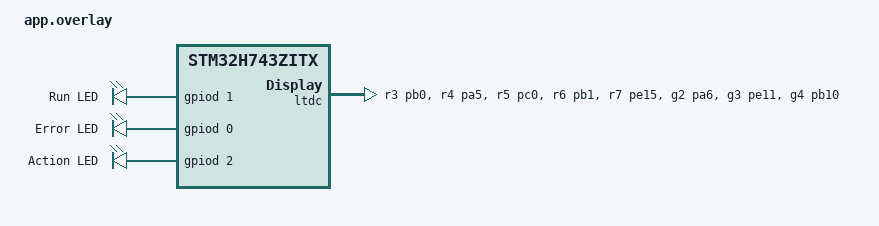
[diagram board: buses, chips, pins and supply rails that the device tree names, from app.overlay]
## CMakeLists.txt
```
cmake_minimum_required(VERSION 3.20.0)
set(BOARD nucleo_h743zi)

find_package(Zephyr)
project(morse-fl)

file(GLOB SRC src/app_main.cpp src/dns.cpp src/hardware.cpp src/json.cpp src/mqtt.cpp src/task.cpp src/convolution_layer.cpp src/genann.c src/fullyconnected_layer.cpp)
target_sources(app PRIVATE src/main.c  ${SRC})
set(gen_dir ${ZEPHYR_BINARY_DIR}/include/generated/)
```

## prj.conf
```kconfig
# language and library 
CONFIG_NEWLIB_LIBC=y
CONFIG_NEWLIB_LIBC_FLOAT_PRINTF=y
CONFIG_CPLUSPLUS=y
CONFIG_LIB_CPLUSPLUS=y
CONFIG_CBPRINTF_FP_SUPPORT=y

# Logging conf
CONFIG_LOG=y
CONFIG_LOG_MODE_DEFERRED=y
CONFIG_LOG_FUNC_NAME_PREFIX_DBG=y
CONFIG_LOG_FUNC_NAME_PREFIX_ERR=y
CONFIG_LOG_FUNC_NAME_PREFIX_WRN=y

# Console conf
CONFIG_UART_CONSOLE=y

# Memory
CONFIG_INIT_STACKS=y
CONFIG_MAIN_STACK_SIZE=4096
CONFIG_CODE_DATA_RELOCATION=n
CONFIG_HEAP_MEM_POOL_SIZE=8196

# Displaying
CONFIG_DISPLAY=y
CONFIG_STM32_LTDC=y
CONFIG_STM32_LTDC_RGB565=y

CONFIG_LVGL=y
CONFIG_LV_SPRINTF_USE_FLOAT=y
CONFIG_LV_USE_FLEX=y
CONFIG_LV_MEM_CUSTOM=y
CONFIG_LV_USE_LOG=y
CONFIG_LV_USE_LABEL=y
CONFIG_LV_FONT_MONTSERRAT_24=y
CONFIG_LV_FONT_MONTSERRAT_48=y
CONFIG_LV_THEME_DEFAULT_DARK=y
CONFIG_LV_TXT_ENC_UTF8=y
CONFIG_LV_Z_MEM_POOL_NUMBER_BLOCKS=16

# CMSIS-NN
CONFIG_CMSIS_NN=y
CONFIG_CMSIS_NN_ACTIVATION=y
CONFIG_CMSIS_NN_BASICMATH=y
CONFIG_CMSIS_NN_CONVOLUTION=y
CONFIG_CMSIS_NN_POOLING=y

CONFIG_CMSIS_DSP=y

# Kernel setting
CONFIG_REBOOT=y
CONFIG_EVENTS=y
```

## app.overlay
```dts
#include <st/h7/stm32h743zitx-pinctrl.dtsi>

&pll3 {
    div-m = <1>;
    mul-n = <25>;
    div-p = <2>;
    div-q = <4>;
    div-r = <8>; // 25MHz will be provided to LTDC
    clocks = <&clk_hse>;
    status = "okay";
};

&ltdc {
    status = "okay";
    pinctrl-0 = <
    &ltdc_r3_pb0
    &ltdc_r4_pa5
    &ltdc_r5_pc0
    &ltdc_r6_pb1
    &ltdc_r7_pe15
    &ltdc_g2_pa6
    &ltdc_g3_pe11
    &ltdc_g4_pb10
    &ltdc_g5_pb11
    &ltdc_g6_pc7
    &ltdc_g7_pg8
    &ltdc_b3_pd10
    &ltdc_b4_pe12
    &ltdc_b5_pa3
    &ltdc_b6_pb8
    &ltdc_b7_pb9
    &ltdc_de_pf10
    &ltdc_clk_pe14
    &ltdc_hsync_pc6
    &ltdc_vsync_pa4
    >;
    pinctrl-names = "default";
    // from ADV7123(GM7123)'s spec
    hsync-pol = <STM32_LTDC_HSPOL_ACTIVE_LOW>;
    vsync-pol = <STM32_LTDC_VSPOL_ACTIVE_LOW>;
    de-pol = <STM32_LTDC_DEPOL_ACTIVE_LOW>;
    pclk-pol = <STM32_LTDC_PCPOL_ACTIVE_HIGH>;
    // from standard VGA timing of 640x320,60Hz
    hsync-duration = <96>;
    vsync-duration = <2>;
    hfp-duration = <16>;
    hbp-duration = <48>;
    vfp-duration = <10>;
    vbp-duration = <33>;
    height = <480>;
    width = <640>;
    def-back-color-red = <0x00>;
	def-back-color-green = <0x00>;
	def-back-color-blue = <0x00>;
};

/ {
    chosen {
        zephyr,display=&ltdc;
    };

    leds {
        compatible = "gpio-leds";
        run_led: led_pd1 {
            gpios = <&gpiod 1 GPIO_ACTIVE_HIGH>;
            label = "Run LED";
        };
        err_led: led_pd0 {
            gpios = <&gpiod 0 GPIO_ACTIVE_HIGH>;
            label = "Error LED";
        };
        act_led: led_pd2 {
            gpios = <&gpiod 2 GPIO_ACTIVE_HIGH>;
            label = "Action LED";
        };
    };
};
```

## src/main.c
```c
#include <zephyr/zephyr.h>

#include "../inc/app_main.h"

void main(void)
{
    AppMain();
}
```

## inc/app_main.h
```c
#ifndef MORSE_FL_APP_MAIN
#define MORSE_FL_APP_MAIN

#include "stdint.h"

#ifdef __cplusplus
extern "C" {
#endif

void PrintWeight(const char* title, int8_t* weight, int length, double scale, int8_t zeropoint); 
void AppMain(void);

#ifdef __cplusplus
}
#endif

#endif
```

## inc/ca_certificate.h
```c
/*
 * Copyright (c) 2018 Nordic Semiconductor ASA
 *
 * SPDX-License-Identifier: Apache-2.0
 */

#ifndef __CA_CERTIFICATE_H__
#define __CA_CERTIFICATE_H__

#define CA_CERTIFICATE_TAG 1

/* By default only certificates in DER format are supported. If you want to use
 * certificate in PEM format, you can enable support for it in Kconfig.
 */

/* ISRG CA - X1 for https://chinchister.com */
#if defined(CONFIG_TLS_CREDENTIAL_FILENAMES)
static const unsigned char ca_certificate[] = "globalsign_r1.der";
#else
static const unsigned char ca_certificate[] = {
#include "let_encrypt.der.inc"
};
#endif

#endif /* __CA_CERTIFICATE_H__ */
```

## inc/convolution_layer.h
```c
#ifndef MORSE_FL_CONVOLUTION_LAYER
#define MORSE_FL_CONVOLUTION_LAYER

#include "arm_nnfunctions.h"

namespace kimdictor_morse_fl {
namespace convolution_layer {
void Init();
bool ConvolutionLayer1(q7_t *in, q7_t *out);
bool ConvolutionLayer2(q7_t *in, q7_t *out);
};  // namespace convolution_layer
};  // namespace kimdictor_morse_fl

#endif
```

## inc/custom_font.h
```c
#ifndef HANGANG_VIEW_CUSTOM_FONT
#define HANGANG_VIEW_CUSTOM_FONT

#include <lvgl.h>

namespace hangang_view {
    class CustomFontStore {
        public:
            const static lv_font_t* space_grotesk_72_;
    };
};

#endif
```

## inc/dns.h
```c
#ifndef HANGANG_VIEW_DNS
#define HANGANG_VIEW_DNS

#include <stdint.h>
#include <zephyr/net/dns_resolve.h>
#include <zephyr/net/net_core.h>
#include <zephyr/net/net_if.h>
#include <zephyr/sys/atomic.h>

namespace hangang_view {
class DNSResolver {
 private:
  int dns_timeout_;
  uint16_t dns_id_;
  bool is_ipv4_;
  in_addr dns_addr4_;
  in6_addr dns_addr6_;

  atomic_t dns_status_;
  enum MQTTStatusBit {
    kBitSuccess = 0,
    kBitError = 1,
    kBitComplete = 1,
    kBitIPv4 = 7
  };

  static void Callback(enum dns_resolve_status status,
                       struct dns_addrinfo *info, void *user_data);

 public:
  const char *dns_query_;
  DNSResolver(const char *query) : dns_timeout_(1000), dns_query_(query) {
    dns_status_ = ATOMIC_INIT(0);
  };
  int Resolve();
  bool IsSuccess();
  bool HasError();
  bool IsCompleted();
  bool IsIPv4();
  in_addr GetIPv4Address();
  in6_addr GetIPv6Address();
};
};  // namespace hangang_view

#endif
```

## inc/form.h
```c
#ifndef MORSE_FL_FORM
#define MORSE_FL_FORM

#include <lvgl.h>
#include <stdio.h>
#include <string.h>

#include "version.h"

namespace kimdictor_morse_fl
{
  class IForm
  {
  protected:
    lv_obj_t *base_;
    lv_style_t base_style_;

  public:
    const int kFrameBufferWidth = 480;
    const int kFrameBufferHeight = 320;

    IForm()
    {
      lv_style_init(&base_style_);
      lv_style_set_bg_color(&base_style_, lv_color_make(0, 0, 0));
      lv_style_set_border_color(&base_style_, lv_color_make(0, 0, 0));
      base_ = lv_obj_create(lv_scr_act());
      lv_obj_set_size(base_, IForm::kFrameBufferWidth, IForm::kFrameBufferHeight);
      lv_obj_add_style(base_, &base_style_, LV_PART_MAIN);
    };

    virtual ~IForm() { lv_obj_clean(base_); };
    virtual void Update() = 0;
    virtual void Draw() = 0;
  };
}; // namespace kimdictor_morse_fl

#endif
```

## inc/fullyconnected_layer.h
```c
#ifndef MORSE_FL_FULLYCONNECTED_LAYER
#define MORSE_FL_FULLYCONNECTED_LAYER

#include <memory>
#include <utility>

#include "./fullyconnected_layer.h"
#include "./genann.h"
#include "arm_nnfunctions.h"
#include "../inc/weight_bias.h"

namespace kimdictor_morse_fl {
namespace fullyconnected_layer {

extern genann* fc;
extern double fc_input[fc_input_dim];
typedef std::unique_ptr<double[], decltype(free)> output_array_t;

bool Init();
void ApplyInput(q7_t* input, int count, double scale, int8_t zeropoint);
const double* Inference();
std::pair<int, double> FindMax(const double* input);
};  // namespace fullyconnected_layer
};  // namespace kimdictor_morse_fl

#endif
```

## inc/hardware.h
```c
#ifndef MORSE_FL_HARDWARE
#define MORSE_FL_HARDWARE

/* zephyr device and driver */
#include <zephyr/device.h>
#include <zephyr/drivers/gpio.h>

namespace kimdictor_morse_fl {
namespace hardware {

extern const struct gpio_dt_spec run_led, err_led, act_led, user_button;
extern const struct device *display;

int CheckHardware();
int InitHardware();

}  // namespace hardware
}  // namespace kimdictor_morse_fl

#endif
```

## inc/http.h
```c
#ifndef HANGANG_VIEW_HTTP
#define HANGANG_VIEW_HTTP

namespace hangang_view {
int HttpInit();
int HttpGet(char* host, char* path);
};  // namespace hangang_view

#endif
```

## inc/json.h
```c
#ifndef HANGANG_VIEW_JSON
#define HANGANG_VIEW_JSON

#include <zephyr/data/json.h>

namespace hangang_view {
namespace json {

struct symbol {
  const char* name;
  int price;
  int percentile;
};

struct symbols {
  struct symbol symbols[30];
  size_t symbols_len;
};

int ParseSymbolJson(char* payload, int payload_len, struct json::symbols* data);
};  // namespace json
};  // namespace hangang_view

#endif
```

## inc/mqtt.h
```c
#ifndef HANGANG_VIEW_MQTT
#define HANGANG_VIEW_MQTT

#include <zephyr/net/mqtt.h>
#include <zephyr/net/net_ip.h>

#include <map>
#include <stdint.h>

#include "json.h"

namespace hangang_view {
class MQTTClient {
 private:
  static const int buffer_size_ = 256;
  uint8_t rx_buffer_[buffer_size_];
  uint8_t tx_buffer_[buffer_size_];
  uint8_t payload_[buffer_size_ * 4];
  struct mqtt_client client_;
  struct sockaddr_storage broker_;
  struct json::symbols *symbols_;

  atomic_t mqtt_status_;
  enum MQTTStatusBit {
    kBitConnected = 0,
    kBitError = 1,
  };

  int64_t latest_publish_time_;

 public:
  static std::map<struct mqtt_client *, MQTTClient *> callback_table_;
  MQTTClient(in_addr address, uint16_t port, struct json::symbols *symbols) {
    mqtt_status_ = ATOMIC_INIT(0);
    symbols_ = symbols;
    latest_publish_time_ = 0;
    
    /* Init address struct */
    struct sockaddr_in *broker4 = (struct sockaddr_in *)&broker_;
    broker4->sin_family = AF_INET;
    broker4->sin_port = htons(port);
    broker4->sin_addr = address;

    /* MQTT client configuration */
    mqtt_client_init(&client_);
    client_.broker = &broker_;
    client_.evt_cb = &hangang_view::MQTTClient::GlobalEventCallback;
    client_.client_id.utf8 = (uint8_t *)"zephyr_mqtt_client";
    client_.client_id.size = sizeof("zephyr_mqtt_client") - 1;
    client_.password = NULL;
    client_.user_name = NULL;
    client_.protocol_version = MQTT_VERSION_3_1_1;
    client_.transport.type = MQTT_TRANSPORT_NON_SECURE;

    MQTTClient::callback_table_.insert(
        std::pair<struct mqtt_client *, MQTTClient *>(&client_, this));

    /* MQTT buffers configuration */
    client_.rx_buf = rx_buffer_;
    client_.rx_buf_size = sizeof(rx_buffer_);
    client_.tx_buf = tx_buffer_;
    client_.tx_buf_size = sizeof(tx_buffer_);
  };

  int Connect();
  int WaitEstablished(int timeout);
  int Subscribe(char *topic_name);
  int Abort();
  int Input();

  static void GlobalEventCallback(struct mqtt_client *client,
                                  const struct mqtt_evt *evt);
  void EventCallback(const struct mqtt_evt *evt);
  bool IsConnected();
  bool HasError();
  int64_t LatestPublishTime();
};
};  // namespace hangang_view
#endif
```

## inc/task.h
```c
#ifndef HANGANG_VIEW_TASK
#define HANGANG_VIEW_TASK

#include "../inc/mqtt.h"
#include "../inc/json.h"
#include <zephyr/kernel.h>
namespace hangang_view {
namespace task {

static const int kPriceTaskLoopInterval = 100;
static const int kSymbolDisplayChangeInterval = 3000;
static const int kPublishWatchdogInterval = 60000;
static const int kBootWatchdogInterval = 30000;

struct AppContext {
  k_tid_t boot_task_id;
  k_tid_t price_task_id;
  MQTTClient *mqtt;
  struct json::symbols symbols;
  struct k_event error_event;
  uint32_t boot_task_started_uptime;
  uint32_t price_task_latest_update_time;
  bool boot_task_complete;
};

enum class ErrorEventArgument : uint32_t {
  kBootTimeout = 1U << 0,
  kPublishWatchdogFired = 1U << 1,
  kDNSFailure = 1U << 2,
  kMQTTFailure = 1U << 3,
};

const char* ErrorEventArgumentToString(ErrorEventArgument arg);

void InitTask(struct AppContext *ctx);
void BootTask(void *, void *, void *);
void PriceTask(void *, void *, void *);
};  // namespace task
};  // namespace hangang_view

#endif
```
